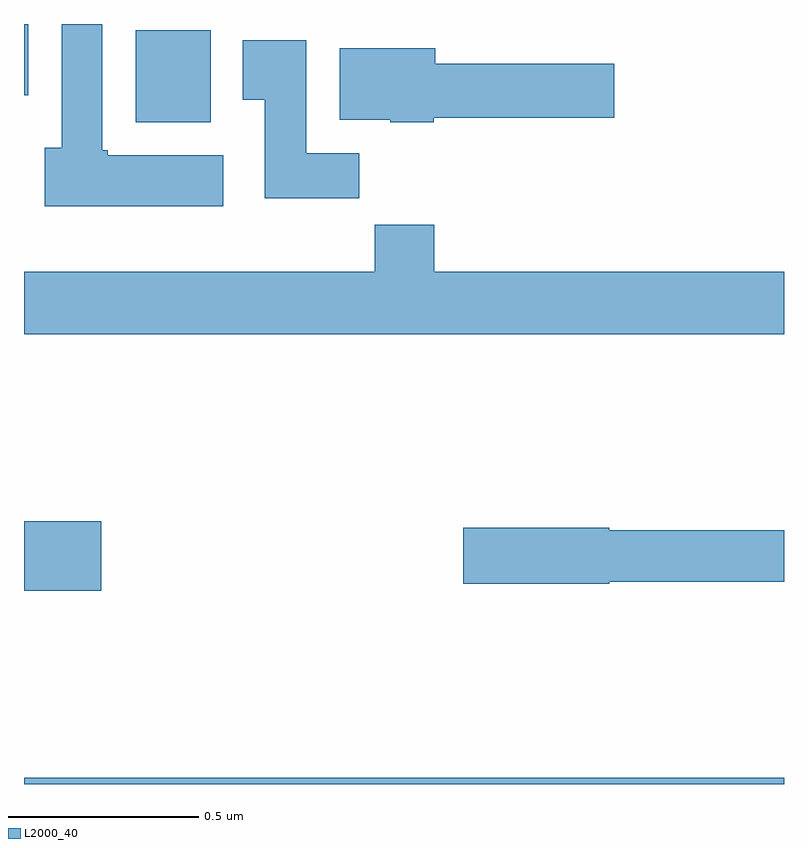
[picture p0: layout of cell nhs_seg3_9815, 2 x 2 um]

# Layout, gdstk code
import gdstk
lib = gdstk.Library(unit=1e-6, precision=1e-09)
def R(c, l, rs):  # rectangles x0, y0, x1, y1
    for r in rs: c.add(gdstk.rectangle(r[:2], r[2:], *l))
def P(c, l, *ps):  # polygons
    for p in ps: c.add(gdstk.Polygon(p, *l))
L2000_40 = (2000, 40)

nhs_seg3_9815 = lib.new_cell('nhs_seg3_9815')
R(nhs_seg3_9815, L2000_40, [(233,698.4,235,698.416), (233,698.909,233.203,699.092), (233.294,700.142,233.491,700.384), (233,700.212,233.011,700.4)])
P(nhs_seg3_9815, L2000_40, [(233.524,700.054),(233.22,700.054),(233.22,700.068),(233.206,700.068),(233.206,700.4),(233.099,700.4),(233.099,700.074),(233.054,700.074),(233.054,699.92),(233.524,699.92)],
  [(233.882,700.06),(233.743,700.06),(233.743,700.357),(233.576,700.357),(233.576,700.201),(233.633,700.201),(233.633,699.942),(233.882,699.942)],
  [(234.078,700.153),(234.553,700.153),(234.553,700.295),(234.082,700.295),(234.082,700.336),(233.831,700.336),(233.831,700.148),(233.964,700.148),(233.964,700.142),(234.078,700.142)],
  [(235,699.748),(234.08,699.748),(234.08,699.872),(233.923,699.872),(233.923,699.748),(233,699.748),(233,699.584),(235,699.584)],
  [(234.54,698.932),(235,698.932),(235,699.068),(234.54,699.068),(234.54,699.074),(234.156,699.074),(234.156,698.927),(234.54,698.927)])

lib.write_gds('nhs_seg3_9815.gds')
